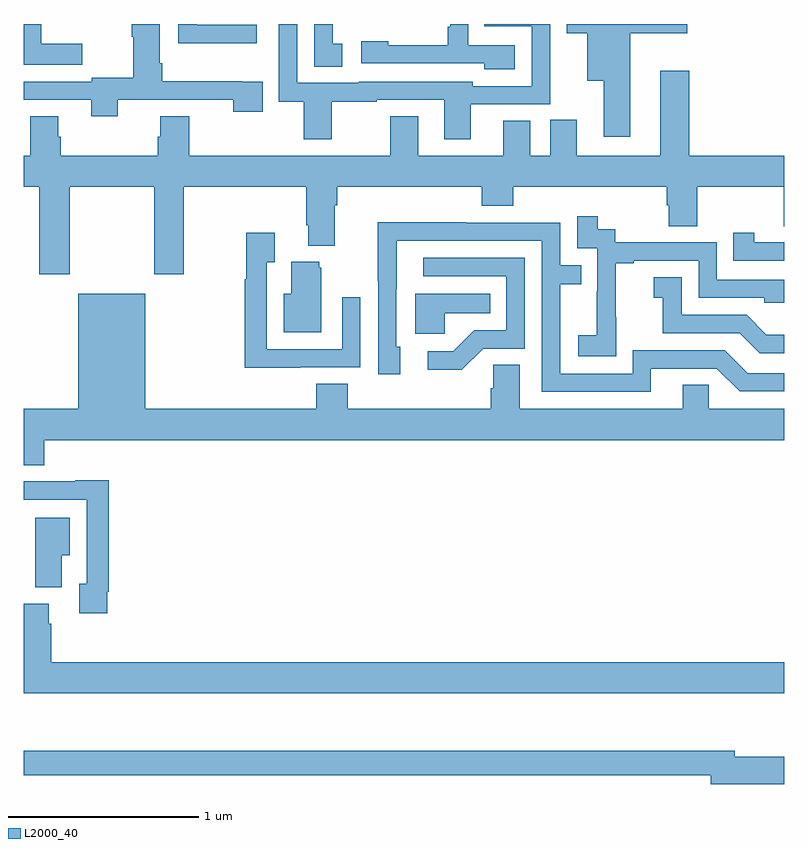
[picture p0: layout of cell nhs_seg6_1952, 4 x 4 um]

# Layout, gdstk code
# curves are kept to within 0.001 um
import gdstk
lib = gdstk.Library(unit=1e-6, precision=1e-09)
def P(c, l, *ps):  # polygons
    for p in ps: c.add(gdstk.Polygon(p, *l))
L2000_40 = (2000, 40)

nhs_seg6_1952 = lib.new_cell('nhs_seg6_1952')
P(nhs_seg6_1952, L2000_40, [(227.308,973.396),(227.092,973.396),(227.092,973.5),(227,973.5),(227,973.287),(227.308,973.287)],
  [(229.351,973.077),(229.769,973.077),(229.769,973.5),(229.423,973.5),(229.423,973.487),(229.671,973.487),(229.671,973.173),(229.362,973.173),(229.362,973.197),(228.762,973.197),(228.762,973.191),(228.438,973.191),(228.438,973.5),(228.342,973.5),(228.342,973.09),(228.473,973.09),(228.473,972.894),(228.621,972.894),(228.621,973.09),(228.858,973.09),(228.858,973.101),(229.211,973.101),(229.211,972.893),(229.351,972.893)],
  [(229.582,973.389),(229.338,973.389),(229.338,973.5),(229.242,973.5),(229.242,973.486),(229.23,973.486),(229.23,973.389),(228.918,973.389),(228.918,973.408),(228.774,973.408),(228.774,973.293),(229.421,973.293),(229.421,973.262),(229.582,973.262)],
  [(230.191,973.451),(230.489,973.451),(230.489,973.5),(229.856,973.5),(229.856,973.451),(229.964,973.451),(229.964,973.202),(230.051,973.202),(230.051,972.906),(230.191,972.906)],
  [(227.494,973.101),(228.101,973.101),(228.101,973.038),(228.257,973.038),(228.257,973.197),(228.149,973.197),(228.149,973.199),(227.729,973.199),(227.729,973.294),(227.716,973.294),(227.716,973.5),(227.569,973.5),(227.569,973.434),(227.576,973.434),(227.576,973.217),(227.358,973.217),(227.358,973.197),(227,973.197),(227,973.101),(227.354,973.101),(227.354,973.016),(227.494,973.016)],
  [(228.226,973.497),(227.91,973.497),(227.91,973.5),(227.814,973.5),(227.814,973.4),(228.226,973.4)],
  [(228.676,973.395),(228.624,973.395),(228.624,973.5),(228.528,973.5),(228.528,973.276),(228.676,973.276)],
  [(229.523,972.808),(229.075,972.808),(229.075,973.015),(228.928,973.015),(228.928,972.808),(227.87,972.808),(227.87,973.016),(227.717,973.016),(227.717,972.906),(227.705,972.906),(227.705,972.808),(227.195,972.808),(227.195,972.906),(227.182,972.906),(227.182,973.016),(227.035,973.016),(227.035,972.808),(227,972.808),(227,972.644),(227.081,972.644),(227.081,972.183),(227.241,972.183),(227.241,972.644),(227.686,972.644),(227.686,972.183),(227.841,972.183),(227.841,972.644),(228.485,972.644),(228.485,972.442),(228.497,972.442),(228.497,972.335),(228.637,972.335),(228.637,972.548),(228.65,972.548),(228.65,972.644),(229.409,972.644),(229.409,972.545),(229.574,972.545),(229.574,972.644),(230.381,972.644),(230.381,972.546),(230.393,972.546),(230.393,972.436),(230.541,972.436),(230.541,972.644),(230.998,972.644),(230.998,972.436),(231,972.436),(231,972.808),(230.501,972.808),(230.501,973.255),(230.348,973.255),(230.348,972.808),(229.909,972.808),(229.909,972.996),(229.77,972.996),(229.77,972.808),(229.663,972.808),(229.663,972.992),(229.523,972.992)],
  [(230.115,971.959),(230.114,971.959),(230.114,972.243),(230.209,972.243),(230.209,972.255),(230.55,972.255),(230.55,972.06),(230.895,972.06),(230.895,972.033),(231,972.033),(231,972.156),(230.646,972.156),(230.646,972.351),(230.112,972.351),(230.112,972.42),(230.02,972.42),(230.02,972.49),(229.911,972.49),(229.911,972.321),(230.016,972.321),(230.016,972.092),(230.015,972.092),(230.015,971.863),(229.917,971.863),(229.917,971.753),(230.115,971.753)],
  [(230.299,971.688),(230.646,971.688),(230.766,971.568),(231,971.568),(231,971.664),(230.808,971.664),(230.688,971.784),(230.202,971.784),(230.202,971.661),(229.821,971.661),(229.821,972.13),(229.931,972.13),(229.931,972.231),(229.821,972.231),(229.821,972.456),(229.325,972.456),(229.325,972.458),(228.862,972.458),(228.862,972.151),(228.864,972.151),(228.864,971.658),(228.979,971.658),(228.979,971.802),(228.96,971.802),(228.961,972.36),(229.725,972.36),(229.725,971.565),(230.299,971.565)],
  [(231,972.351),(230.842,972.351),(230.842,972.403),(230.731,972.403),(230.731,972.255),(231,972.255)],
  [(228.455,971.694),(228.771,971.694),(228.771,972.064),(228.675,972.064),(228.675,971.79),(228.279,971.79),(228.279,972.247),(228.319,972.247),(228.319,972.403),(228.171,972.403),(228.171,972.158),(228.163,972.158),(228.163,971.693),(228.455,971.693)],
  [(229.416,971.793),(229.635,971.793),(229.635,972.27),(229.101,972.27),(229.101,972.174),(229.539,972.174),(229.539,971.889),(229.37,971.889),(229.259,971.778),(229.125,971.778),(229.125,971.681),(229.303,971.681)],
  [(228.565,972.219),(228.554,972.219),(228.554,972.25),(228.407,972.25),(228.407,972.082),(228.368,972.082),(228.368,971.879),(228.565,971.879)],
  [(231,971.866),(230.906,971.866),(230.802,971.97),(230.46,971.97),(230.46,972.169),(230.313,972.169),(230.313,972.059),(230.362,972.059),(230.362,971.874),(230.765,971.874),(230.87,971.769),(231,971.769)],
  [(231,971.476),(230.604,971.476),(230.604,971.603),(230.465,971.603),(230.465,971.476),(229.609,971.476),(229.609,971.708),(229.47,971.708),(229.47,971.585),(229.457,971.585),(229.457,971.476),(228.704,971.476),(228.704,971.609),(228.539,971.609),(228.539,971.476),(227.638,971.476),(227.638,972.082),(227.288,972.082),(227.288,971.476),(227,971.476),(227,971.179),(227.108,971.179),(227.108,971.312),(231,971.312)],
  [(229.215,971.978),(229.454,971.978),(229.454,972.082),(229.058,972.082),(229.058,971.87),(229.215,971.87)],
  [(227.44,970.513),(227.447,970.513),(227.447,971.101),(227.271,971.101),(227.271,971.094),(227,971.094),(227,970.998),(227.331,970.998),(227.331,970.557),(227.291,970.557),(227.291,970.401),(227.44,970.401)],
  [(227.2,970.706),(227.242,970.706),(227.242,970.903),(227.06,970.903),(227.06,970.537),(227.2,970.537)],
  [(231,970.144),(227.144,970.144),(227.144,970.346),(227.131,970.346),(227.131,970.452),(227,970.452),(227,969.98),(231,969.98)],
  [(231,969.645),(230.74,969.645),(230.74,969.679),(227,969.679),(227,969.55),(230.612,969.55),(230.612,969.503),(231,969.503)])

lib.write_gds('nhs_seg6_1952.gds')
